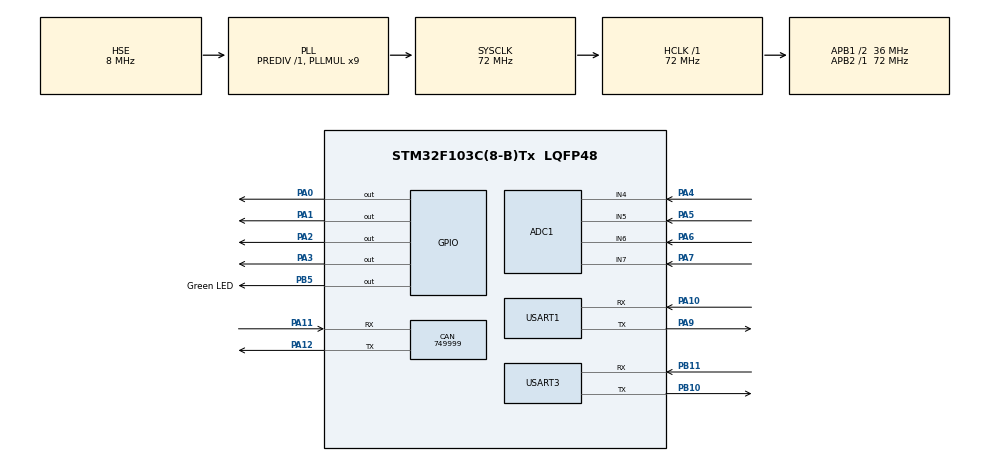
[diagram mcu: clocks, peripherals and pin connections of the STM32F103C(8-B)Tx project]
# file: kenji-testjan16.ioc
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ADC1.Channel-0\#ChannelRegularConversion=ADC_CHANNEL_4
ADC1.Channel-1\#ChannelRegularConversion=ADC_CHANNEL_5
ADC1.Channel-2\#ChannelRegularConversion=ADC_CHANNEL_6
ADC1.Channel-3\#ChannelRegularConversion=ADC_CHANNEL_7
ADC1.NbrOfConversion=4
ADC1.NbrOfConversionFlag=1
ADC1.Rank-0\#ChannelRegularConversion=1
ADC1.Rank-1\#ChannelRegularConversion=2
ADC1.Rank-2\#ChannelRegularConversion=3
ADC1.Rank-3\#ChannelRegularConversion=4
ADC1.SamplingTime-0\#ChannelRegularConversion=ADC_SAMPLETIME_55CYCLES_5
ADC1.SamplingTime-1\#ChannelRegularConversion=ADC_SAMPLETIME_55CYCLES_5
ADC1.SamplingTime-2\#ChannelRegularConversion=ADC_SAMPLETIME_55CYCLES_5
ADC1.SamplingTime-3\#ChannelRegularConversion=ADC_SAMPLETIME_55CYCLES_5
ADC1.master=1
CAN.CalculateBaudRate=749999
CAN.CalculateTimeBit=1333
CAN.CalculateTimeQuantum=444.44444444444446
Dma.ADC1.0.Direction=DMA_PERIPH_TO_MEMORY
Dma.ADC1.0.Instance=DMA1_Channel1
Dma.ADC1.0.MemDataAlignment=DMA_MDATAALIGN_HALFWORD
Dma.ADC1.0.MemInc=DMA_MINC_ENABLE
Dma.ADC1.0.Mode=DMA_NORMAL
Dma.ADC1.0.PeriphDataAlignment=DMA_PDATAALIGN_HALFWORD
Dma.ADC1.0.PeriphInc=DMA_PINC_DISABLE
Dma.ADC1.0.Priority=DMA_PRIORITY_LOW
Dma.Request0=ADC1
Mcu.Family=STM32F1
Mcu.Name=STM32F103C(8-B)Tx
Mcu.Package=LQFP48
NVIC.DMA1_Channel1_IRQn=true\:0\:0\:false\:false\:true\:false\:true\:true
NVIC.PriorityGroup=NVIC_PRIORITYGROUP_4
PA0-WKUP.Signal=GPIO_Output
PA1.Signal=GPIO_Output
PA10.Mode=Asynchronous
PA10.Signal=USART1_RX
PA11.Mode=CAN_Activate
PA11.Signal=CAN_RX
PA12.Mode=CAN_Activate
PA12.Signal=CAN_TX
PA13.Mode=Serial_Wire
PA13.Signal=SYS_JTMS-SWDIO
PA14.Mode=Serial_Wire
PA14.Signal=SYS_JTCK-SWCLK
PA2.Signal=GPIO_Output
PA3.Signal=GPIO_Output
PA4.Signal=ADCx_IN4
PA5.Signal=ADCx_IN5
PA6.Signal=ADCx_IN6
PA7.Signal=ADCx_IN7
PA9.Mode=Asynchronous
PA9.Signal=USART1_TX
PB10.Mode=Asynchronous
PB10.Signal=USART3_TX
PB11.Mode=Asynchronous
PB11.Signal=USART3_RX
PB5.GPIO_Label=Green LED
PB5.Signal=GPIO_Output
PD0-OSC_IN.Mode=HSE-External-Oscillator
PD0-OSC_IN.Signal=RCC_OSC_IN
PD1-OSC_OUT.Mode=HSE-External-Oscillator
PD1-OSC_OUT.Signal=RCC_OSC_OUT
ProjectManager.HeapSize=0x200
ProjectManager.StackSize=0x400
ProjectManager.TargetToolchain=STM32CubeIDE
RCC.ADCPresc=RCC_ADCPCLK2_DIV6
RCC.AHBFreq_Value=72000000
RCC.APB1CLKDivider=RCC_HCLK_DIV2
RCC.APB1Freq_Value=36000000
RCC.APB1TimFreq_Value=72000000
RCC.APB2Freq_Value=72000000
RCC.APB2TimFreq_Value=72000000
RCC.HCLKFreq_Value=72000000
RCC.PLLMUL=RCC_PLL_MUL9
RCC.PLLSourceVirtual=RCC_PLLSOURCE_HSE
RCC.SYSCLKFreq_VALUE=72000000
RCC.SYSCLKSource=RCC_SYSCLKSOURCE_PLLCLK
RCC.USBFreq_Value=72000000
SH.ADCx_IN4.0=ADC1_IN4,IN4
SH.ADCx_IN5.0=ADC1_IN5,IN5
SH.ADCx_IN6.0=ADC1_IN6,IN6
SH.ADCx_IN7.0=ADC1_IN7,IN7
USART1.VirtualMode=VM_ASYNC
USART3.VirtualMode=VM_ASYNC
board=custom

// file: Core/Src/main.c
/* USER CODE BEGIN Header */
/**
  ******************************************************************************
  * @file           : main.c
  * @brief          : Main program body
  ******************************************************************************
  * @attention
  *
  * Copyright (c) 2026 STMicroelectronics.
  * All rights reserved.
  *
  * This software is licensed under terms that can be found in the LICENSE file
  * in the root directory of this software component.
  * If no LICENSE file comes with this software, it is provided AS-IS.
  *
  ******************************************************************************
  */
/* USER CODE END Header */
#include "main.h"
#include <string.h>

#include <stdio.h>

ADC_HandleTypeDef hadc1;
DMA_HandleTypeDef hdma_adc1;

CAN_HandleTypeDef hcan;

UART_HandleTypeDef huart1;
UART_HandleTypeDef huart3;

/* USER CODE BEGIN PV */
  /* ADC BUF & dma_flag must be reread always, do not optimize values away*/
static volatile uint16_t adc_buf[4];
static volatile uint16_t dma_flag;
CAN_TxHeaderTypeDef txHeader = {0};
uint32_t txMailbox;
uint32_t timeDelayCAN = 0;
uint32_t timeDelayCAN2 = 0;
uint32_t timeDelayCAN3 = 0;
uint32_t timeDelayCAN4 = 0;
volatile int addressclaimFlag = 0;
volatile uint8_t status;
int8_t g_min_temp = 0;
int8_t g_max_temp = 0;
int8_t g_avg_temp = 0;
/* USER CODE END PV */

void SystemClock_Config(void);
static void MX_GPIO_Init(void);
static void MX_DMA_Init(void);
static void MX_ADC1_Init(void);
static void MX_CAN_Init(void);
static void MX_USART1_UART_Init(void);
static void MX_USART3_UART_Init(void);
/* USER CODE BEGIN PFP */
#define THERM_COUNT 40
#define module_number 0x00
#define ADC_CH_COUNT 4

void adc_start_dma_4();

void set_muxOutput(int count);

// lol is this declaration correct?
int8_t volt2temp(uint16_t adc_buf, const int16_t temp_adc_lut[33][2]);

void send_thermistor_CAN_msg(int8_t temp_array[THERM_COUNT]);
void send_all_temps_CAN(int8_t temp_array[THERM_COUNT]);

/* USER CODE END PFP */

/* USER CODE BEGIN 0 */

// Voltage to temperature look-up table
const int16_t temp_adc_lut[33][2] = {
	{-40, 3028}, {-35, 3004}, {-30, 2979}, {-25, 2955},
	{-20, 2916}, {-15, 2878}, {-10, 2817}, { -5, 2767},
	{  0, 2694}, {  5, 2621}, { 10, 2548}, { 15, 2475},
	{ 20, 2389}, { 25, 2316}, { 30, 2234}, { 35, 2161},
	{ 40, 2088}, { 45, 2022}, { 50, 1973}, { 55, 1924},
	{ 60, 1874}, { 65, 1837}, { 70, 1800}, { 75, 1775},
	{ 80, 1737}, { 85, 1712}, { 90, 1699}, { 95, 1674},
	{100, 1662}, {105, 1650}, {110, 1638}, {115, 1626},
	{120, 1614}
};

int8_t temp_array[THERM_COUNT];		// holds converted temperature values of 40 pins

/* USER CODE END 0 */

int main(void)
{

  /* MCU Configuration--------------------------------------------------------*/

  /* Reset of all peripherals, Initializes the Flash interface and the Systick. */
  HAL_Init();

  /* Configure the system clock */
  SystemClock_Config();

  /* Initialize all configured peripherals */
  MX_GPIO_Init();
  MX_DMA_Init();
  MX_ADC1_Init();
  MX_CAN_Init();
  MX_USART1_UART_Init();
  MX_USART3_UART_Init();
  /* USER CODE BEGIN 2 */
  //HAL_ADCEx_Calibration_Start(&hadc1);

  HAL_Delay(100);
  dma_flag = 0;
  set_muxOutput(0);

  HAL_ADC_Start_DMA(&hadc1, (uint32_t*)adc_buf, 4);
  char message[8] = "testing";

  if(HAL_UART_Transmit(&huart1, (uint8_t*)message, strlen(message), 100) == HAL_OK) {
  		  HAL_Delay(400);
  		  HAL_GPIO_TogglePin(GPIOB, GPIO_PIN_5);
  		  HAL_Delay(400);
  		  HAL_GPIO_TogglePin(GPIOB, GPIO_PIN_5);
  		  HAL_Delay(400);
  	  }

  int count_muxpins = 0;

  timeDelayCAN = HAL_GetTick();
  timeDelayCAN2 = HAL_GetTick();
  timeDelayCAN3 = HAL_GetTick();
  timeDelayCAN4 = HAL_GetTick();
  /* USER CODE END 2 */

  /* Infinite loop */
  /* USER CODE BEGIN WHILE */
  while (1)
  {
	  //HAL_GPIO_TogglePin(GPIOB, GPIO_PIN_5);  // Green LED on PB5
	  //HAL_Delay(500);
    /* USER CODE END WHILE */

    /* USER CODE BEGIN 3 */
//	  if(dma_flag) {
//		  dma_flag = 0;
//		  HAL_Delay(250);
//		  HAL_GPIO_TogglePin(GPIOB, GPIO_PIN_5);
//		  HAL_Delay(250);
//		  HAL_GPIO_TogglePin(GPIOB, GPIO_PIN_5);
//		  HAL_Delay(250);
//
//	  }

	  // set output pins going to muxes

	  // when adc_buf finished collecting voltage values
	  if (dma_flag == 1) {

		  // convert and load temperatures
		  for (int m = 0; m < 4; m++) {
			  // Debug UART transmit: adc_buf data at each count_muxpins step (0—9).
			   //char buffer[30];
			   //sprintf(buffer, "Mux %d, channel %d: %d \r\n", m, count_muxpins, adc_buf[m]);
			   //HAL_UART_Transmit(&huart1, (uint8_t*) buffer, (uint16_t) strlen(buffer), 100);

			  // CORRECTION FOR ADC:   0.73 * adc_val + 1022
			  temp_array[m*10 + count_muxpins] = volt2temp(adc_buf[m], temp_adc_lut);
			  //if (m <2){
			  //	  temp_array[m*10 + count_muxpins] = 22;
			  //}
			  //char buffer2[20];
			  if (count_muxpins == 1000 && m==6){
			 				  char debug_msg[16];
			 				  uint16_t adc = adc_buf[m];
			 				  int8_t debug_value = temp_array[m*10 + count_muxpins];
			 				  sprintf(debug_msg, "%u %d\r\n", adc, debug_value);
			 				  HAL_UART_Transmit(&huart1, (uint8_t*)debug_msg, strlen(debug_msg), 100);
			 			  }
			  //sprintf(buffer2, "Temp: %d C\r\n", temp_array[m*10 + count_muxpins]);
			  //HAL_UART_Transmit(&huart1, (uint8_t*) buffer2, (uint16_t) strlen(buffer2), 100);
		  }
		  count_muxpins++;
		  // read through all 10 on each
		  if (count_muxpins == 10) {
			  count_muxpins = 0;
		  }

		  set_muxOutput(count_muxpins);
		  HAL_Delay(5);
		  adc_start_dma_4();
	  }

	  if (HAL_GetTick() - timeDelayCAN3 > 500){
	  send_all_temps_CAN(temp_array);
	  timeDelayCAN3 = HAL_GetTick();
  }
	  if(g_min_temp > -40 && g_min_temp <= 55 && g_max_temp <= 55 && g_avg_temp <= 55){
		  timeDelayCAN4 = HAL_GetTick();
	  }
	  else{
		  timeDelayCAN4 = timeDelayCAN4;
	  }

  if (HAL_GetTick() - timeDelayCAN > 100){
	  if(HAL_GetTick() - timeDelayCAN4 < 1000){
		  send_thermistor_CAN_msg(temp_array);

	  }
		  timeDelayCAN = HAL_GetTick();
		  update_temp_stats(temp_array);
	  }
	  if (HAL_GetTick() - timeDelayCAN2 > 200){ //broadcast claim
		  timeDelayCAN2 = HAL_GetTick();
		  if (HAL_GetTick() - timeDelayCAN4 < 1000) {
			  uint8_t data[8];
			  txHeader.ExtId = 0x18EEFF80;
			  txHeader.IDE   = CAN_ID_EXT;
			  txHeader.RTR   = CAN_RTR_DATA;
			  txHeader.DLC = 8;
			  data[0] = 0xF3;       	// Byte 1
			  data[1] = 0x00;   	// Byte 2
			  data[2] = 0X80;   	// Byte 3
			  data[3] = 0XF3;   	// Byte 4
			  data[4] = 0x00;	// thermistor module number default 00
			  data[5] = 0x40;              	// Byte 6
			  data[6] = 0x1E;
			  data[7] = 0x90;
			  status = HAL_CAN_AddTxMessage(&hcan, &txHeader, data, &txMailbox);
		  }
	  }

  }
  /* USER CODE END 3 */
}

void SystemClock_Config(void)
{
  RCC_OscInitTypeDef RCC_OscInitStruct = {0};
  RCC_ClkInitTypeDef RCC_ClkInitStruct = {0};
  RCC_PeriphCLKInitTypeDef PeriphClkInit = {0};

  /** Initializes the RCC Oscillators according to the specified parameters
  * in the RCC_OscInitTypeDef structure.
  */
  RCC_OscInitStruct.OscillatorType = RCC_OSCILLATORTYPE_HSE;
  RCC_OscInitStruct.HSEState = RCC_HSE_ON;
  RCC_OscInitStruct.HSEPredivValue = RCC_HSE_PREDIV_DIV1;
  RCC_OscInitStruct.HSIState = RCC_HSI_ON;
  RCC_OscInitStruct.PLL.PLLState = RCC_PLL_ON;
  RCC_OscInitStruct.PLL.PLLSource = RCC_PLLSOURCE_HSE;
  RCC_OscInitStruct.PLL.PLLMUL = RCC_PLL_MUL9;
  if (HAL_RCC_OscConfig(&RCC_OscInitStruct) != HAL_OK)
  {
    Error_Handler();
  }

  /** Initializes the CPU, AHB and APB buses clocks
  */
  RCC_ClkInitStruct.ClockType = RCC_CLOCKTYPE_HCLK|RCC_CLOCKTYPE_SYSCLK
                              |RCC_CLOCKTYPE_PCLK1|RCC_CLOCKTYPE_PCLK2;
  RCC_ClkInitStruct.SYSCLKSource = RCC_SYSCLKSOURCE_PLLCLK;
  RCC_ClkInitStruct.AHBCLKDivider = RCC_SYSCLK_DIV1;
  RCC_ClkInitStruct.APB1CLKDivider = RCC_HCLK_DIV2;
  RCC_ClkInitStruct.APB2CLKDivider = RCC_HCLK_DIV1;

  if (HAL_RCC_ClockConfig(&RCC_ClkInitStruct, FLASH_LATENCY_2) != HAL_OK)
  {
    Error_Handler();
  }
  PeriphClkInit.PeriphClockSelection = RCC_PERIPHCLK_ADC;
  PeriphClkInit.AdcClockSelection = RCC_ADCPCLK2_DIV6;
  if (HAL_RCCEx_PeriphCLKConfig(&PeriphClkInit) != HAL_OK)
  {
    Error_Handler();
  }
}

static void MX_ADC1_Init(void)
{

  ADC_ChannelConfTypeDef sConfig = {0};

  /** Common config
  */
  hadc1.Instance = ADC1;
  hadc1.Init.ScanConvMode = ADC_SCAN_ENABLE;
  hadc1.Init.ContinuousConvMode = DISABLE;
  hadc1.Init.DiscontinuousConvMode = DISABLE;
  hadc1.Init.ExternalTrigConv = ADC_SOFTWARE_START;
  hadc1.Init.DataAlign = ADC_DATAALIGN_RIGHT;
  hadc1.Init.NbrOfConversion = 4;
  if (HAL_ADC_Init(&hadc1) != HAL_OK)
  {
    Error_Handler();
  }

  /** Configure Regular Channel
  */
  sConfig.Channel = ADC_CHANNEL_4;
  sConfig.Rank = ADC_REGULAR_RANK_1;
  sConfig.SamplingTime = ADC_SAMPLETIME_239CYCLES_5;
  if (HAL_ADC_ConfigChannel(&hadc1, &sConfig) != HAL_OK)
  {
    Error_Handler();
  }

  /** Configure Regular Channel
  */
  sConfig.Channel = ADC_CHANNEL_5;
  sConfig.Rank = ADC_REGULAR_RANK_2;
  if (HAL_ADC_ConfigChannel(&hadc1, &sConfig) != HAL_OK)
  {
    Error_Handler();
  }

  /** Configure Regular Channel
  */
  sConfig.Channel = ADC_CHANNEL_6;
  sConfig.Rank = ADC_REGULAR_RANK_3;
  if (HAL_ADC_ConfigChannel(&hadc1, &sConfig) != HAL_OK)
  {
    Error_Handler();
  }

  /** Configure Regular Channel
  */
  sConfig.Channel = ADC_CHANNEL_7;
  sConfig.Rank = ADC_REGULAR_RANK_4;
  if (HAL_ADC_ConfigChannel(&hadc1, &sConfig) != HAL_OK)
  {
    Error_Handler();
  }

}

static void MX_CAN_Init(void)
{

  hcan.Instance = CAN1;
  hcan.Init.Prescaler = 4; // switch this to 8 == Baud Rate 250kbps
  hcan.Init.Mode = CAN_MODE_NORMAL;
  hcan.Init.SyncJumpWidth = CAN_SJW_1TQ;
  hcan.Init.TimeSeg1 = CAN_BS1_14TQ;
  hcan.Init.TimeSeg2 = CAN_BS2_3TQ;
  hcan.Init.TimeTriggeredMode = DISABLE;
  hcan.Init.AutoBusOff = DISABLE;
  hcan.Init.AutoWakeUp = DISABLE;
  hcan.Init.AutoRetransmission = DISABLE;
  hcan.Init.ReceiveFifoLocked = DISABLE;
  hcan.Init.TransmitFifoPriority = DISABLE;
  if (HAL_CAN_Init(&hcan) != HAL_OK)
  {
    Error_Handler();
  }
  /* USER CODE BEGIN CAN_Init 2 */
  HAL_CAN_Start(&hcan);
  CAN_FilterTypeDef filter;
   uint32_t id = 0x1839F380;
   filter.FilterActivation = CAN_FILTER_ENABLE;
   filter.FilterBank = 0;
   filter.FilterFIFOAssignment = CAN_FILTER_FIFO0;
   filter.FilterIdHigh = (uint16_t)(id >> 13);
   filter.FilterIdLow = (uint16_t)(id << 3) | CAN_ID_EXT;
   filter.FilterMaskIdHigh = 0x0000;
   filter.FilterMaskIdLow = 0x0000;
   filter.FilterMode = CAN_FILTERMODE_IDMASK;
   filter.FilterScale = CAN_FILTERSCALE_32BIT;

   HAL_CAN_ConfigFilter(&hcan, &filter);

  /* USER CODE END CAN_Init 2 */

}

static void MX_USART1_UART_Init(void)
{

  huart1.Instance = USART1;
  huart1.Init.BaudRate = 115200;
  huart1.Init.WordLength = UART_WORDLENGTH_8B;
  huart1.Init.StopBits = UART_STOPBITS_1;
  huart1.Init.Parity = UART_PARITY_NONE;
  huart1.Init.Mode = UART_MODE_TX_RX;
  huart1.Init.HwFlowCtl = UART_HWCONTROL_NONE;
  huart1.Init.OverSampling = UART_OVERSAMPLING_16;
  if (HAL_UART_Init(&huart1) != HAL_OK)
  {
    Error_Handler();
  }

}

static void MX_USART3_UART_Init(void)
{

  huart3.Instance = USART3;
  huart3.Init.BaudRate = 115200;
  huart3.Init.WordLength = UART_WORDLENGTH_8B;
  huart3.Init.StopBits = UART_STOPBITS_1;
  huart3.Init.Parity = UART_PARITY_NONE;
  huart3.Init.Mode = UART_MODE_TX_RX;
  huart3.Init.HwFlowCtl = UART_HWCONTROL_NONE;
  huart3.Init.OverSampling = UART_OVERSAMPLING_16;
  if (HAL_UART_Init(&huart3) != HAL_OK)
  {
    Error_Handler();
  }

}

static void MX_DMA_Init(void)
{

  /* DMA controller clock enable */
  __HAL_RCC_DMA1_CLK_ENABLE();

  /* DMA interrupt init */
  /* DMA1_Channel1_IRQn interrupt configuration */
  HAL_NVIC_SetPriority(DMA1_Channel1_IRQn, 0, 0);
  HAL_NVIC_EnableIRQ(DMA1_Channel1_IRQn);

}

static void MX_GPIO_Init(void)
{
  GPIO_InitTypeDef GPIO_InitStruct = {0};

  /* GPIO Ports Clock Enable */
  __HAL_RCC_GPIOD_CLK_ENABLE();
  __HAL_RCC_GPIOA_CLK_ENABLE();
  __HAL_RCC_GPIOB_CLK_ENABLE();

  /*Configure GPIO pin Output Level */
  HAL_GPIO_WritePin(GPIOA, GPIO_PIN_0|GPIO_PIN_1|GPIO_PIN_2|GPIO_PIN_3, GPIO_PIN_RESET);

  /*Configure GPIO pin Output Level */
  HAL_GPIO_WritePin(Green_LED_GPIO_Port, Green_LED_Pin, GPIO_PIN_RESET);

  /*Configure GPIO pins : PA0 PA1 PA2 PA3 */
  GPIO_InitStruct.Pin = GPIO_PIN_0|GPIO_PIN_1|GPIO_PIN_2|GPIO_PIN_3;
  GPIO_InitStruct.Mode = GPIO_MODE_OUTPUT_PP;
  GPIO_InitStruct.Pull = GPIO_NOPULL;
  GPIO_InitStruct.Speed = GPIO_SPEED_FREQ_LOW;
  HAL_GPIO_Init(GPIOA, &GPIO_InitStruct);

  /*Configure GPIO pin : Green_LED_Pin */
  GPIO_InitStruct.Pin = Green_LED_Pin;
  GPIO_InitStruct.Mode = GPIO_MODE_OUTPUT_PP;
  GPIO_InitStruct.Pull = GPIO_NOPULL;
  GPIO_InitStruct.Speed = GPIO_SPEED_FREQ_LOW;
  HAL_GPIO_Init(Green_LED_GPIO_Port, &GPIO_InitStruct);

}

/* USER CODE BEGIN 4 */

void HAL_ADC_ConvCpltCallback(ADC_HandleTypeDef* hadc)
//  we enter this callback after the 4th channel is read.
{
    if (hadc->Instance == ADC1) // here, we only have one adc, but its future-proofed
    {
    	dma_flag = 1;
    }
}

void adc_start_dma_4(void)
{
    dma_flag = 0;
    // Starts regular sequence conversions; DMA stores ADC_CH_COUNT samples
    HAL_ADC_Start_DMA(&hadc1, (uint32_t*)adc_buf, ADC_CH_COUNT);
}

void set_muxOutput(int count){
  /* This function inputs an integer (mux counter) and outputs it in binary to the mux select pins (PA0-3)
    test:
    count = 5 -> PA0 = 1, PA1 = 0, PA2 = 1, PA3 = 0
    which is 0101 which is 5

    Also double-checked against schematic to ensure bit-ordering is correct.

  */

	HAL_GPIO_WritePin(GPIOA, GPIO_PIN_0, (count & 0x01) ? GPIO_PIN_SET : GPIO_PIN_RESET);
	HAL_GPIO_WritePin(GPIOA, GPIO_PIN_1, (count & 0x02) ? GPIO_PIN_SET : GPIO_PIN_RESET);
	HAL_GPIO_WritePin(GPIOA, GPIO_PIN_2, (count & 0x04) ? GPIO_PIN_SET : GPIO_PIN_RESET);
	HAL_GPIO_WritePin(GPIOA, GPIO_PIN_3, (count & 0x08) ? GPIO_PIN_SET : GPIO_PIN_RESET);
}

int8_t volt2temp(uint16_t adc_val, const int16_t temp_adc_lut[33][2]) {
    /* This function takes in an adc_value and compares it against a look-up table

to get a corresponding temperature value.
Will linearly interpolate.
*/

      // TODO:   maybe also add in something for if the adc read is outside range of lookup table....

    int8_t temp = 0;
    int16_t temp16 = 0;

  if (adc_val >= temp_adc_lut[0][1])
  {
    return -40;  // Too cold, return minimum oiroinbms temp range;
  }

  else if (adc_val <= temp_adc_lut[32][1])
  {
    return 85;  // Too hot, return max tep range of orionbms2
  }
  else {
      for (int t = 1; t < 33; t++) {
        if (adc_val > temp_adc_lut[t][1]) {
            // linear interpolation between row t-1 and row t
            temp16 = temp_adc_lut[t-1][0] +
                     (temp_adc_lut[t][0] - temp_adc_lut[t-1][0]) * (temp_adc_lut[t-1][1]-adc_val) /
                     (temp_adc_lut[t-1][1] - temp_adc_lut[t][1]);
            break;
        }
      }
     // convert to 8 bit, as sent in CAN protocol
     temp = (int8_t)temp16;
     return temp;
  }

 }

 void send_thermistor_CAN_msg(int8_t temp_array[THERM_COUNT])
 {
	 // This function prepares thermistor CAN message in format specified in datasheet
	 // https://www.orionbms.com/downloads/misc/thermistor_module_canbus.pdf

	 // CAN message is 8 bytes long
     uint8_t data[8] = {0};

     // finding min, max, and average
     int8_t min_temp = temp_array[0];
     int8_t max_temp = temp_array[0];
     uint8_t min_id = 0;
     uint8_t max_id = 0;
     int16_t sum = 0;

     for (uint8_t i = 0; i < THERM_COUNT; i++) {
         int8_t t = (int8_t)temp_array[i];
         sum += t;

         if (t < min_temp) {
             min_temp = t;
             min_id = i;
         }
         if (t > max_temp) {
             max_temp = t;
             max_id = i;
         }
     }
     int8_t avg_temp = (int8_t)(sum / THERM_COUNT);

     g_min_temp = min_temp;
     g_max_temp = max_temp;
     g_avg_temp = avg_temp;

     //char buff3[40];
     //snprintf(buff3, sizeof(buff3), "Min: %u C, Max: %u C, Avg: %u C\r\n", min_temp, max_temp, avg_temp);
     //HAL_UART_Transmit(&huart1, (uint8_t*) buff3, (uint16_t) strlen(buff3), 100);

     // --------- Fill payload ----------
     //debug
     //min_temp = 40;
     //max_temp = 40;
     //avg_temp = 40;
     //end of debug
     data[0] = 0x00;       	// Byte 1
     data[1] = (uint8_t)min_temp;   	// Byte 2
     data[2] = (uint8_t)max_temp;   	// Byte 3
     data[3] = (uint8_t)avg_temp;   	// Byte 4
     data[4] = 0x28;	// Byte 5
     data[5] = max_id;              	// Byte 6
     data[6] = min_id;              	// Byte 7
	 int checksum = 0;
	 for (int i = 0; i <7; i++){
		 checksum += data[i];
	 }
	 data[7] = (checksum + 0x39 + 0x08) & 0xff; //should b 0x76
     //data[7] = orion_checksum(data, CAN_LEN);  // Byte 8

     // --------- CAN transmit ----------
     txHeader.ExtId = 0x1839F380;
     txHeader.IDE   = CAN_ID_EXT;
     txHeader.RTR   = CAN_RTR_DATA;
     txHeader.DLC = 8;
     //txHeader.DLC   = CAN_LEN;
     status = HAL_CAN_AddTxMessage(&hcan, &txHeader, data, &txMailbox);
     if (status == HAL_ERROR){
    	 HAL_GPIO_WritePin(GPIOA, GPIO_PIN_5, GPIO_PIN_SET);
    	 //HAL_GPIO_DeInit(GPIOA, GPIO_PIN_5);
     }
     else if (status == HAL_TIMEOUT){
    	 HAL_GPIO_WritePin(GPIOA, GPIO_PIN_5, GPIO_PIN_SET);
     }
     else if  (status == HAL_BUSY){
    	 HAL_GPIO_WritePin(GPIOA, GPIO_PIN_5, GPIO_PIN_SET);
     }

 }

 void update_temp_stats(int8_t temp_array[THERM_COUNT])
 {
     int8_t min_temp = temp_array[0];
     int8_t max_temp = temp_array[0];
     int16_t sum = 0;

     for (uint8_t i = 0; i < THERM_COUNT; i++) {
         int8_t t = temp_array[i];
         sum += t;
         if (t < min_temp) min_temp = t;
         if (t > max_temp) max_temp = t;
     }

     g_min_temp = min_temp;
     g_max_temp = max_temp;
     g_avg_temp = (int8_t)(sum / THERM_COUNT);
 }

 void send_all_temps_CAN(int8_t temp_array[THERM_COUNT])
 {
     // Sends all 40 thermistor temps as 5 CAN frames of 8 bytes each.
     // CAN IDs: 0x1839F381 (temps 0-7), 0x1839F382 (8-15), ..., 0x1839F385 (32-39)
     txHeader.IDE = CAN_ID_EXT;
     txHeader.RTR = CAN_RTR_DATA;
     txHeader.DLC = 8;

     for (uint8_t frame = 0; frame < 5; frame++) {
         uint32_t deadline = HAL_GetTick() + 10;
         while (HAL_CAN_GetTxMailboxesFreeLevel(&hcan) == 0) {
             if (HAL_GetTick() > deadline) break;
         }
         txHeader.ExtId = 0x1839F381 + frame;
         uint8_t data[8];
         for (uint8_t b = 0; b < 8; b++) {
             data[b] = (uint8_t)temp_array[frame * 8 + b];
         }
         HAL_CAN_AddTxMessage(&hcan, &txHeader, data, &txMailbox);
     }
 }

/* USER CODE END 4 */

void Error_Handler(void)
{
  __disable_irq();
  while (1)
  {
  }
}
